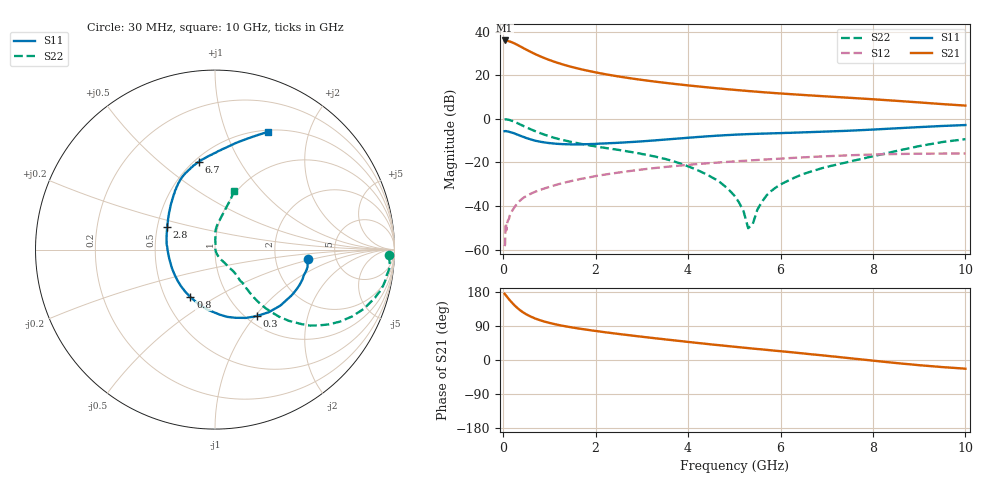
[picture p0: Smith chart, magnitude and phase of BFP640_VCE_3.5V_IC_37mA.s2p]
! (c) 2013  Infineon Technologies AG, Munich
! Infineon Technologies  Discrete & RF Semiconductors
! BFP640
! VCE =  3.5 V,  IC =  37 mA
! Common Emitter S-Parameters:  Apr 2013
# GHz  S  MA  R  50
!  f  S11  S21  S12  S22
! GHz  MAG  ANG  MAG  ANG  MAG  ANG  MAG  ANG
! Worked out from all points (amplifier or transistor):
!   99 points, 30 MHz to 10 GHz, reference 50 ohm
!   highest |S21| = 36.0 dB at 30 MHz (marker M1)
!   |S21| within 3 dB of that: start of sweep to 393 MHz
!   unconditionally stable (mu >= 1): 2.051 GHz to end of sweep
!   at 350 MHz: K = 0.43, MSG = 35.6 dB, |S12| = -37.8 dB
!   at 3.5 GHz: K = 1.05, MAG = 17.9 dB, |S12| = -22.1 dB
!   at 10 GHz: K = 1.06, MAG = 9.5 dB, |S12| = -15.9 dB
!   S11 on the Smith chart (normalised r, x): 30 MHz: 3.10, -0.45; 300 MHz: 1.11, -1.02; 800 MHz: 0.67, -0.39; 2.8 GHz: 0.56, +0.16; 6.7 GHz: 0.53, +0.69; 10 GHz: 0.52, +1.42
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0.03  0.5207 -5.8  62.84 174.6  0.0012 85.1  0.9695 -1.9
0.08  0.5146 -16.4  61.88 167.1  0.0035 67.0  0.9677 -8.4
0.15  0.4967 -31.1  59.05 156.7  0.0063 80.4  0.9313 -16.7
0.2  0.4794 -40.7  56.33 149.9  0.008 76.1  0.8926 -21.7
0.25  0.4594 -49.5  53.33 143.6  0.0096 72.9  0.8485 -26.1
0.3  0.4373 -57.9  50.15 137.9  0.0114 71.3  0.803 -30.0
0.4  0.3969 -73.2  44.09 128.2  0.0144 68.6  0.7153 -36.2
0.5  0.3629 -86.0  38.66 120.5  0.0169 67.6  0.639 -40.6
0.6  0.3363 -97.6  34.09 114.3  0.0193 65.9  0.5728 -43.9
0.7  0.3144 -107.8  30.3 109.1  0.0214 65.1  0.5176 -46.3
0.8  0.2988 -117.2  27.16 104.8  0.0235 64.3  0.4704 -47.9
1  0.2779 -133.3  22.36 97.9  0.0275 63.5  0.3975 -50.1
1.2  0.266 -146.7  18.92 92.3  0.0318 62.5  0.3449 -50.9
1.7  0.2603 -171.7  13.61 81.9  0.0423 59.9  0.265 -50.6
2.2  0.273 170.8  10.61 73.3  0.0526 56.7  0.2159 -50.9
2.8  0.295 154.4  8.378 64.3  0.0647 52.2  0.1715 -49.8
3.4  0.3282 141.2  6.907 55.9  0.0766 47.2  0.1276 -51.7
5.1  0.4372 115.7  4.531 33.8  0.1072 32.3  0.0122 -67.0
5.3  0.4463 113.7  4.348 31.4  0.1105 30.5  0.0031 -30.6
6.7  0.4985 100.2  3.42 14.7  0.1341 18.2  0.064 88.4
8.5  0.6061 78.8  2.595 -8.0  0.156 -0.0  0.1822 79.4
10  0.7209 65.6  2.013 -22.9  0.1608 -12.1  0.342 72.0
